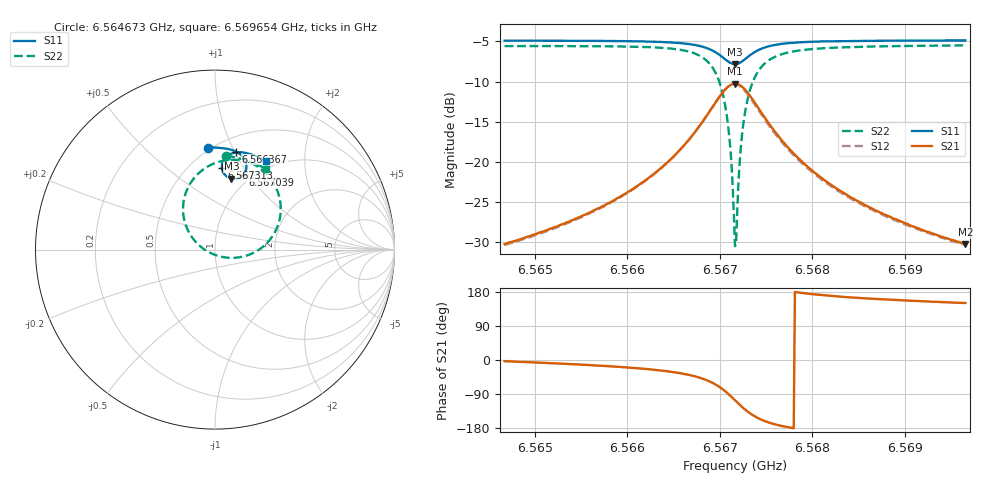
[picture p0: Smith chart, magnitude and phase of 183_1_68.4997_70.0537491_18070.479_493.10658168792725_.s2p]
#  HZ  S  RI  R  50.00
! Rohde & Schwarz Vector Network Analyzer
! Rohde-Schwarz,ZNB20-2Port,1311601062101988,3.16
! Created: UTC 3/20/2024, 5:11:55 PM
! freq[Hz]  re:S11  im:S11  re:S21  im:S21  re:S12  im:S12  re:S22  im:S22
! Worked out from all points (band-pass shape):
!   401 points, 6.564673 GHz to 6.569654 GHz, reference 50 ohm
!   highest |S21| = -10.27 dB at 6.567164 GHz (marker M1); lowest = -30.3 dB at 6.569654 GHz (marker M2)
!   |S21| within 3 dB of the highest: 6.566916 GHz to 6.567414 GHz (497.6 kHz wide, 0.00758 % of centre)
!   lowest |S11| = -7.8 dB at 6.567164 GHz (marker M3), VSWR 2.37, Z = 42.6 + j40.3 ohm
!   |S11| at or under -10 dB: nowhere
!   |S22| runs from -30.6 to -5.5 dB; largest |S21 - S12| = 0.015
!   S11 on the Smith chart (normalised r, x): 6.564673 GHz: 0.48, +0.81; 6.566367 GHz: 0.64, +1.01; 6.567039 GHz: 0.91, +0.94; 6.567313 GHz: 0.70, +0.80; 6.569654 GHz: 0.89, +1.31
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6.5646735e9  -0.0384 0.5678  0.0304 -0.00158  0.03 -0.00213  0.0629 0.5225
6.5655077e9  0.0313 0.5669  0.0446 -0.00971  0.0439 -0.0103  0.1456 0.5057
6.5663419e9  0.1127 0.5476  0.0793 -0.0405  0.078 -0.0414  0.266 0.4409
6.5663668e9  0.1155 0.5464  0.081 -0.0425  0.0797 -0.0435  0.2707 0.4367
6.5666408e9  0.1492 0.5236  0.1039 -0.081  0.1022 -0.0827  0.3315 0.3613
6.56684e9  0.1725 0.4862  0.1161 -0.1462  0.1132 -0.1493  0.3663 0.2356
6.566952e9  0.1743 0.4496  0.1006 -0.2105  0.095 -0.2144  0.3418 0.1134
6.5670392e9  0.1567 0.4153  0.053 -0.2686  0.043 -0.2717  0.2534 0.00529
6.5671014e9  0.1284 0.3972  -0.00932 -0.297  -0.0225 -0.2963  0.1376 -0.0426
6.5671263e9  0.1141 0.3941  -0.0395 -0.3004  -0.0533 -0.2976  0.083 -0.0461
6.5671512e9  0.099 0.3939  -0.0707 -0.2978  -0.0844 -0.2925  0.0274 -0.038
6.5671637e9  0.0916 0.3953  -0.086 -0.2942  -0.0993 -0.2877  0.000433 -0.0296
6.5671762e9  0.0841 0.3975  -0.1009 -0.289  -0.1138 -0.2814  -0.0256 -0.0185
6.5671886e9  0.0772 0.4002  -0.1153 -0.2826  -0.1275 -0.2737  -0.05 -0.0051
6.567226e9  0.0589 0.413  -0.1526 -0.2556  -0.1622 -0.2442  -0.1117 0.0474
6.5672509e9  0.0498 0.4238  -0.1715 -0.2336  -0.1788 -0.221  -0.1412 0.0889
6.5673131e9  0.0387 0.4536  -0.1972 -0.1745  -0.1996 -0.1622  -0.1764 0.1955
6.5674127e9  0.0449 0.4936  -0.1942 -0.0976  -0.1919 -0.0882  -0.1578 0.3292
6.5675621e9  0.0728 0.5255  -0.159 -0.0352  -0.1555 -0.0301  -0.0822 0.4334
6.5679979e9  0.141 0.5423  -0.0874 0.0096  -0.0851 0.0109  0.0741 0.4989
6.5688322e9  0.2224 0.5237  -0.0424 0.016  -0.0413 0.0164  0.2062 0.4833
6.5696539e9  0.2847 0.4947  -0.0265 0.015  -0.0259 0.0153  0.2824 0.4502
